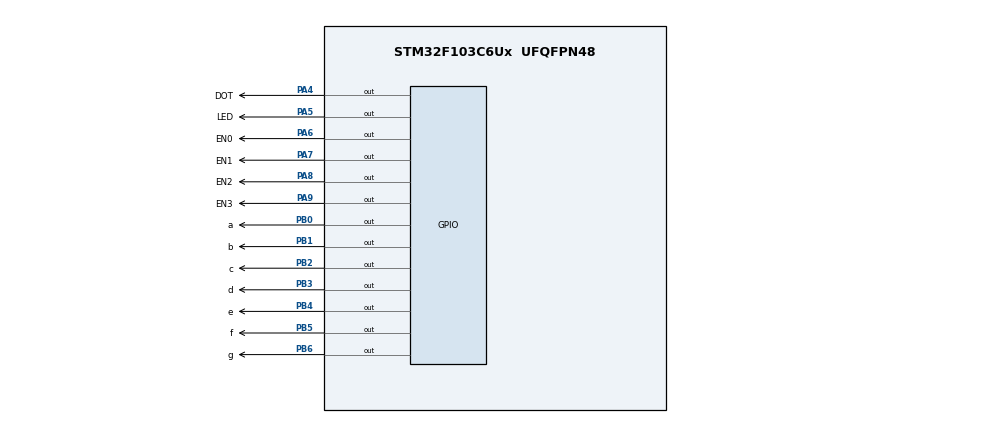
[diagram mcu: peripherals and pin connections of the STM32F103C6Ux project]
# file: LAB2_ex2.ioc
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Mcu.Family=STM32F1
Mcu.Name=STM32F103C6Ux
Mcu.Package=UFQFPN48
NVIC.PriorityGroup=NVIC_PRIORITYGROUP_4
NVIC.TIM2_IRQn=true\:0\:0\:false\:false\:true\:true\:true
PA4.GPIO_Label=DOT
PA4.Signal=GPIO_Output
PA5.GPIO_Label=LED
PA5.Signal=GPIO_Output
PA6.GPIO_Label=EN0
PA6.Signal=GPIO_Output
PA7.GPIO_Label=EN1
PA7.Signal=GPIO_Output
PA8.GPIO_Label=EN2
PA8.Signal=GPIO_Output
PA9.GPIO_Label=EN3
PA9.Signal=GPIO_Output
PB0.GPIO_Label=a
PB0.Signal=GPIO_Output
PB1.GPIO_Label=b
PB1.Signal=GPIO_Output
PB2.GPIO_Label=c
PB2.Signal=GPIO_Output
PB3.GPIO_Label=d
PB3.Signal=GPIO_Output
PB4.GPIO_Label=e
PB4.Signal=GPIO_Output
PB5.GPIO_Label=f
PB5.Signal=GPIO_Output
PB6.GPIO_Label=g
PB6.Signal=GPIO_Output
ProjectManager.HeapSize=0x200
ProjectManager.StackSize=0x400
ProjectManager.TargetToolchain=STM32CubeIDE
RCC.APB1Freq_Value=8000000
RCC.APB2Freq_Value=8000000
TIM2.Period=9
TIM2.Prescaler=7999
VP_SYS_VS_ND.Mode=No_Debug
VP_TIM2_VS_ClockSourceINT.Mode=Internal
board=custom

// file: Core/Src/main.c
/* USER CODE BEGIN Header */
/**
  ******************************************************************************
  * @file           : main.c
  * @brief          : Main program body
  ******************************************************************************
  * @attention
  *
  * <h2><center>&copy; Copyright (c) 2025 STMicroelectronics.
  * All rights reserved.</center></h2>
  *
  * This software component is licensed by ST under BSD 3-Clause license,
  * the "License"; You may not use this file except in compliance with the
  * License. You may obtain a copy of the License at:
  *                        opensource.org/licenses/BSD-3-Clause
  *
  ******************************************************************************
  */
/* USER CODE END Header */
#include "main.h"

TIM_HandleTypeDef htim2;

void SystemClock_Config(void);
static void MX_GPIO_Init(void);
static void MX_TIM2_Init(void);

typedef struct {uint8_t a,b,c,d,e,f,g;} SEG7; // dung cho LED
	SEG7 numbers[10] = { //1 = on, 0 = off
			{1,1,1,1,1,1,0}, //0
			{0,1,1,0,0,0,0}, //1
			{1,1,0,1,1,0,1}, //2
			{1,1,1,1,0,0,1}, //3
			{0,1,1,0,0,1,1}, //4
			{1,0,1,1,0,1,1}, //5
			{1,0,1,1,1,1,1}, //6
			{1,1,1,0,0,0,0}, //7
			{1,1,1,1,1,1,1}, //8
			{1,1,1,1,0,1,1}, //9
		};

void display7SEG(int num){
	SEG7 n = numbers[num];

	HAL_GPIO_WritePin(GPIOB, GPIO_PIN_0, n.a ? GPIO_PIN_RESET : GPIO_PIN_SET); // n.a = 1 thi on, khong thi off
	HAL_GPIO_WritePin(GPIOB, GPIO_PIN_1, n.b ? GPIO_PIN_RESET : GPIO_PIN_SET);
	HAL_GPIO_WritePin(GPIOB, GPIO_PIN_2, n.c ? GPIO_PIN_RESET : GPIO_PIN_SET);
	HAL_GPIO_WritePin(GPIOB, GPIO_PIN_3, n.d ? GPIO_PIN_RESET : GPIO_PIN_SET);
	HAL_GPIO_WritePin(GPIOB, GPIO_PIN_4, n.e ? GPIO_PIN_RESET : GPIO_PIN_SET);
	HAL_GPIO_WritePin(GPIOB, GPIO_PIN_5, n.f ? GPIO_PIN_RESET : GPIO_PIN_SET);
	HAL_GPIO_WritePin(GPIOB, GPIO_PIN_6, n.g ? GPIO_PIN_RESET : GPIO_PIN_SET);
}

int main(void)
{

  /* MCU Configuration--------------------------------------------------------*/

  /* Reset of all peripherals, Initializes the Flash interface and the Systick. */
  HAL_Init();

  /* Configure the system clock */
  SystemClock_Config();

  /* Initialize all configured peripherals */
  MX_GPIO_Init();
  MX_TIM2_Init();
  /* USER CODE BEGIN 2 */
 HAL_TIM_Base_Start_IT(&htim2);
  /* USER CODE END 2 */

  /* Infinite loop */
  while (1)
  {

  }
}

void SystemClock_Config(void)
{
  RCC_OscInitTypeDef RCC_OscInitStruct = {0};
  RCC_ClkInitTypeDef RCC_ClkInitStruct = {0};

  /** Initializes the RCC Oscillators according to the specified parameters
  * in the RCC_OscInitTypeDef structure.
  */
  RCC_OscInitStruct.OscillatorType = RCC_OSCILLATORTYPE_HSI;
  RCC_OscInitStruct.HSIState = RCC_HSI_ON;
  RCC_OscInitStruct.HSICalibrationValue = RCC_HSICALIBRATION_DEFAULT;
  RCC_OscInitStruct.PLL.PLLState = RCC_PLL_NONE;
  if (HAL_RCC_OscConfig(&RCC_OscInitStruct) != HAL_OK)
  {
    Error_Handler();
  }
  /** Initializes the CPU, AHB and APB buses clocks
  */
  RCC_ClkInitStruct.ClockType = RCC_CLOCKTYPE_HCLK|RCC_CLOCKTYPE_SYSCLK
                              |RCC_CLOCKTYPE_PCLK1|RCC_CLOCKTYPE_PCLK2;
  RCC_ClkInitStruct.SYSCLKSource = RCC_SYSCLKSOURCE_HSI;
  RCC_ClkInitStruct.AHBCLKDivider = RCC_SYSCLK_DIV1;
  RCC_ClkInitStruct.APB1CLKDivider = RCC_HCLK_DIV1;
  RCC_ClkInitStruct.APB2CLKDivider = RCC_HCLK_DIV1;

  if (HAL_RCC_ClockConfig(&RCC_ClkInitStruct, FLASH_LATENCY_0) != HAL_OK)
  {
    Error_Handler();
  }
}

static void MX_TIM2_Init(void)
{

  TIM_ClockConfigTypeDef sClockSourceConfig = {0};
  TIM_MasterConfigTypeDef sMasterConfig = {0};

  htim2.Instance = TIM2;
  htim2.Init.Prescaler = 7999;
  htim2.Init.CounterMode = TIM_COUNTERMODE_UP;
  htim2.Init.Period = 9;
  htim2.Init.ClockDivision = TIM_CLOCKDIVISION_DIV1;
  htim2.Init.AutoReloadPreload = TIM_AUTORELOAD_PRELOAD_DISABLE;
  if (HAL_TIM_Base_Init(&htim2) != HAL_OK)
  {
    Error_Handler();
  }
  sClockSourceConfig.ClockSource = TIM_CLOCKSOURCE_INTERNAL;
  if (HAL_TIM_ConfigClockSource(&htim2, &sClockSourceConfig) != HAL_OK)
  {
    Error_Handler();
  }
  sMasterConfig.MasterOutputTrigger = TIM_TRGO_RESET;
  sMasterConfig.MasterSlaveMode = TIM_MASTERSLAVEMODE_DISABLE;
  if (HAL_TIMEx_MasterConfigSynchronization(&htim2, &sMasterConfig) != HAL_OK)
  {
    Error_Handler();
  }

}

static void MX_GPIO_Init(void)
{
  GPIO_InitTypeDef GPIO_InitStruct = {0};

  /* GPIO Ports Clock Enable */
  __HAL_RCC_GPIOA_CLK_ENABLE();
  __HAL_RCC_GPIOB_CLK_ENABLE();

  /*Configure GPIO pin Output Level */
  HAL_GPIO_WritePin(GPIOA, DOT_Pin|LED_Pin|EN0_Pin|EN1_Pin
                          |EN2_Pin|EN3_Pin, GPIO_PIN_RESET);

  /*Configure GPIO pin Output Level */
  HAL_GPIO_WritePin(GPIOB, a_Pin|b_Pin|c_Pin|d_Pin
                          |e_Pin|f_Pin|g_Pin, GPIO_PIN_RESET);

  /*Configure GPIO pins : DOT_Pin LED_Pin EN0_Pin EN1_Pin
                           EN2_Pin EN3_Pin */
  GPIO_InitStruct.Pin = DOT_Pin|LED_Pin|EN0_Pin|EN1_Pin
                          |EN2_Pin|EN3_Pin;
  GPIO_InitStruct.Mode = GPIO_MODE_OUTPUT_PP;
  GPIO_InitStruct.Pull = GPIO_NOPULL;
  GPIO_InitStruct.Speed = GPIO_SPEED_FREQ_LOW;
  HAL_GPIO_Init(GPIOA, &GPIO_InitStruct);

  /*Configure GPIO pins : a_Pin b_Pin c_Pin d_Pin
                           e_Pin f_Pin g_Pin */
  GPIO_InitStruct.Pin = a_Pin|b_Pin|c_Pin|d_Pin
                          |e_Pin|f_Pin|g_Pin;
  GPIO_InitStruct.Mode = GPIO_MODE_OUTPUT_PP;
  GPIO_InitStruct.Pull = GPIO_NOPULL;
  GPIO_InitStruct.Speed = GPIO_SPEED_FREQ_LOW;
  HAL_GPIO_Init(GPIOB, &GPIO_InitStruct);

}

/* USER CODE BEGIN 4 */
int counter = 200;
 void HAL_TIM_PeriodElapsedCallback(TIM_HandleTypeDef *htim)
 {
	 if (counter == 200){
	  display7SEG(1);
	  HAL_GPIO_WritePin(EN0_GPIO_Port, EN0_Pin, GPIO_PIN_RESET);
	  HAL_GPIO_WritePin(EN1_GPIO_Port, EN1_Pin, GPIO_PIN_SET);
	  HAL_GPIO_WritePin(EN2_GPIO_Port, EN2_Pin, GPIO_PIN_SET);
	  HAL_GPIO_WritePin(EN3_GPIO_Port, EN3_Pin, GPIO_PIN_SET);
	  HAL_GPIO_WritePin(DOT_GPIO_Port, DOT_Pin, GPIO_PIN_SET);
	  }
	 else if (counter == 150){
	  display7SEG(2);
	  HAL_GPIO_WritePin(EN0_GPIO_Port, EN0_Pin, GPIO_PIN_SET);
	  HAL_GPIO_WritePin(EN1_GPIO_Port, EN1_Pin, GPIO_PIN_RESET);
	  HAL_GPIO_WritePin(EN2_GPIO_Port, EN2_Pin, GPIO_PIN_SET);
	  HAL_GPIO_WritePin(EN3_GPIO_Port, EN3_Pin, GPIO_PIN_SET);
	  HAL_GPIO_WritePin(DOT_GPIO_Port, DOT_Pin, GPIO_PIN_RESET);
	  }
	 else if (counter == 100){
		 display7SEG(3);
		 HAL_GPIO_WritePin(EN0_GPIO_Port, EN0_Pin, GPIO_PIN_SET);
		 HAL_GPIO_WritePin(EN1_GPIO_Port, EN1_Pin, GPIO_PIN_SET);
		 HAL_GPIO_WritePin(EN2_GPIO_Port, EN2_Pin, GPIO_PIN_RESET);
		 HAL_GPIO_WritePin(EN3_GPIO_Port, EN3_Pin, GPIO_PIN_SET);
	 }
	 else if (counter == 50){
	 		 display7SEG(0);
	 		 HAL_GPIO_WritePin(EN0_GPIO_Port, EN0_Pin, GPIO_PIN_SET);
	 		 HAL_GPIO_WritePin(EN1_GPIO_Port, EN1_Pin, GPIO_PIN_SET);
	 		 HAL_GPIO_WritePin(EN2_GPIO_Port, EN2_Pin, GPIO_PIN_SET);
	 		 HAL_GPIO_WritePin(EN3_GPIO_Port, EN3_Pin, GPIO_PIN_RESET);
	 		HAL_GPIO_WritePin(DOT_GPIO_Port, DOT_Pin, GPIO_PIN_SET);
	 }
	  counter = (counter > 0) ? counter-1 : 200;
 }
/* USER CODE END 4 */

void Error_Handler(void)
{
  __disable_irq();
  while (1)
  {
  }
}

/************************ (C) COPYRIGHT STMicroelectronics *****END OF FILE****/
